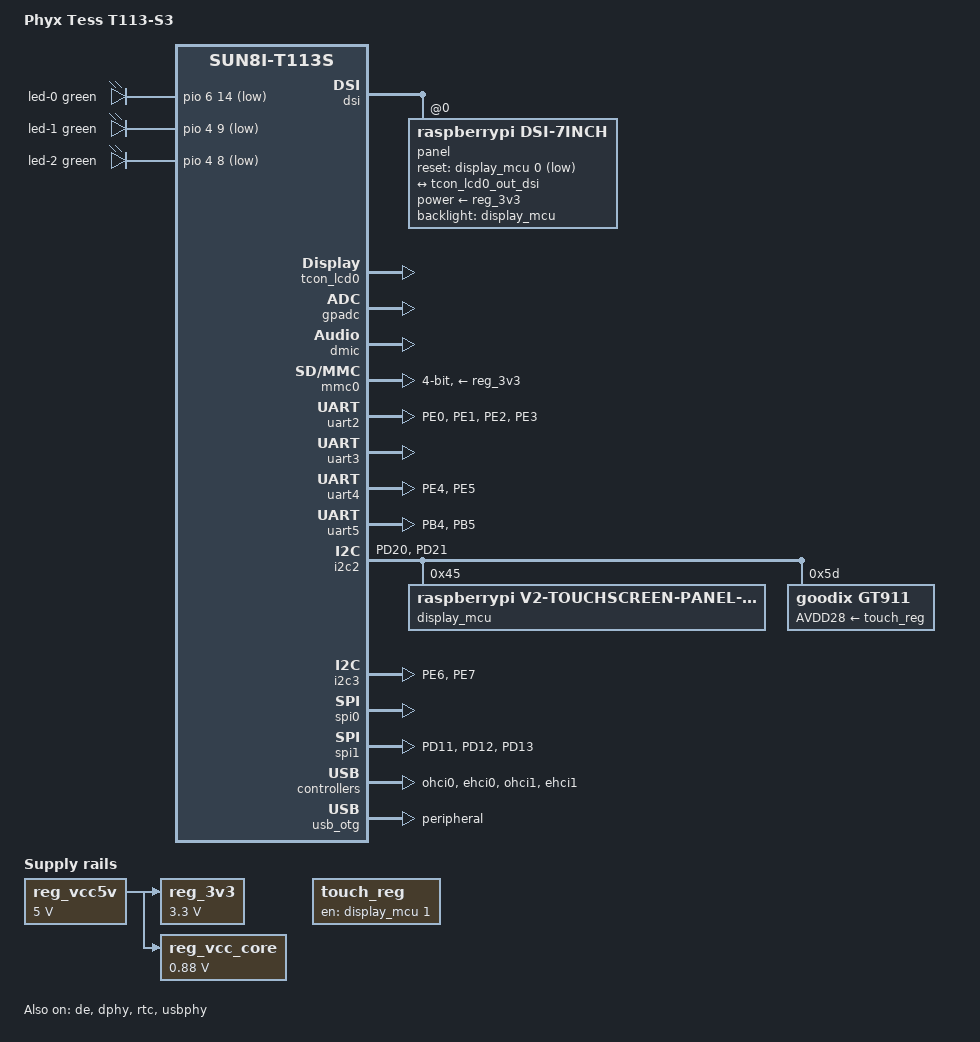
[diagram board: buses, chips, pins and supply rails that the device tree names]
// SPDX-License-Identifier: (GPL-2.0+ OR MIT)
// Copyright (C) 2022 Arm Ltd.

#include <dt-bindings/interrupt-controller/irq.h>

/dts-v1/;

#include "allwinner/sun8i-t113s.dtsi"
#include <dt-bindings/gpio/gpio.h>
#include <dt-bindings/leds/common.h>

/ {
	model = "Phyx Tess T113-S3";
	compatible = "phyx,tess-t113", "allwinner,sun8i-t113s";

	aliases {
		serial3 = &uart3;
	};

	chosen {
		stdout-path = "serial3:115200n8";
	};

	leds {
		compatible = "gpio-leds";

		led-0 {
			color = <LED_COLOR_ID_GREEN>;
			function-enumerator = <0>;
			function = LED_FUNCTION_DISK;
			gpios = <&pio 6 14 GPIO_ACTIVE_LOW>; /* PG14 */
		};

		led-1 {
			color = <LED_COLOR_ID_GREEN>;
			function-enumerator = <1>;
			function = LED_FUNCTION_STATUS;
			gpios = <&pio 4 9 GPIO_ACTIVE_LOW>; /* PE9 */
		};

		led-2 {
			color = <LED_COLOR_ID_GREEN>;
			function-enumerator = <2>;
			function = LED_FUNCTION_USB;
			gpios = <&pio 4 8 GPIO_ACTIVE_LOW>; /* PE8 */
		};
	};

	/* board wide 5V supply directly from the USB-C socket */
	reg_vcc5v: regulator-5v {
		compatible = "regulator-fixed";
		regulator-name = "vcc-5v";
		regulator-min-microvolt = <5000000>;
		regulator-max-microvolt = <5000000>;
		regulator-always-on;
	};

	/* SY8008 DC/DC regulator on the board */
	reg_3v3: regulator-3v3 {
		compatible = "regulator-fixed";
		regulator-name = "vcc-3v3";
		regulator-min-microvolt = <3300000>;
		regulator-max-microvolt = <3300000>;
		vin-supply = <&reg_vcc5v>;
	};

	/* SY8008 DC/DC regulator on the board, also supplying VDD-SYS */
	reg_vcc_core: regulator-core {
		compatible = "regulator-fixed";
		regulator-name = "vcc-core";
		regulator-min-microvolt = <880000>;
		regulator-max-microvolt = <880000>;
		vin-supply = <&reg_vcc5v>;
	};

	touch_reg: touch_reg@1 {
		compatible = "regulator-fixed";
		regulator-name = "touch_reg_1";
		gpio = <&display_mcu 1 GPIO_ACTIVE_HIGH>;
		startup-delay-us = <50000>;
		enable-active-high;
		regulator-boot-on;
	};
};

&cpu0 {
	cpu-supply = <&reg_vcc_core>;
};

&cpu1 {
	cpu-supply = <&reg_vcc_core>;
};

&de {
	status = "okay";
};

&dphy {
	status = "okay";
};

&dsi {
	#address-cells = <1>;
	#size-cells = <0>;
	vcc-dsi-supply = <&reg_3v3>;
	pinctrl-names = "default";
	pinctrl-0 = <&dsi_4lane_pins>;
	status = "okay";

	panel: panel@0 {
		reg = <0>;
		compatible = "raspberrypi,dsi-7inch";
		reset-gpio = <&display_mcu 0 GPIO_ACTIVE_LOW>;
		backlight = <&display_mcu>;
		power-supply = <&reg_3v3>;
		status = "okay";

		port {
			panel_in: endpoint {
				remote-endpoint = <&tcon_lcd0_out_dsi>;
			};
		};
	};
};

&tcon_lcd0 {
    status = "okay";
};

&gpadc {
	status = "okay";
};

&dmic {
	status = "okay";
};

&rtc {
	status = "okay";
};

&dcxo {
	clock-frequency = <24000000>;
};

/* SD card chip storage */
&mmc0 {
	pinctrl-names = "default";
	pinctrl-0 = <&mmc0_pins>;
	vmmc-supply = <&reg_3v3>;
	disable-wp;
	bus-width = <4>;
	status = "okay";
};

&pio {
	vcc-pb-supply = <&reg_3v3>;
	vcc-pd-supply = <&reg_3v3>;
	vcc-pe-supply = <&reg_3v3>;
	vcc-pf-supply = <&reg_3v3>;
	vcc-pg-supply = <&reg_3v3>;

	/omit-if-no-ref/
	uart2_pe_pins: uart2-pe-pins {
		pins = "PE0", "PE1", "PE2", "PE3";
		function = "uart2";
	};

	/omit-if-no-ref/
	uart4_pe_pins: uart4-pe-pins {
		pins = "PE4", "PE5";
		function = "uart4";
	};

	/omit-if-no-ref/
	uart5_pb_pins: uart5-pb-pins {
		pins = "PB4", "PB5";
		function = "uart5";
	};

	/omit-if-no-ref/
	i2c2_pd_pins: i2c2-pd-pins {
		pins = "PD20", "PD21";
		function = "i2c2";
	};

	/omit-if-no-ref/
	i2c3_pe_pins: i2c3-pe-pins {
		pins = "PE6", "PE7";
		function = "i2c3";
	};

	/omit-if-no-ref/
	spi1_pd_pins: spi1-pd-pins {
		pins = "PD11", "PD12", "PD13";
		function = "spi1";
	};

	/omit-if-no-ref/
	gpio_out_pe_pins: gpio-out-pe-pins {
		pins = "PE10", "PE11"; /* esp-c3 boot/reset */
		function = "gpio_out";
	};

	/omit-if-no-ref/
	dsi_gpio_pd_pins: dsi-gpio-pd-pins {
		pins = "PD14", "PD15";
		function = "gpio_out";
	};
};

/* esp32-c3 BLE uart */
&uart2 {
	pinctrl-names = "default";
	pinctrl-0 = <&uart2_pe_pins>;
	status = "okay";
};

/* shell */
&uart3 {
	pinctrl-names = "default";
	pinctrl-0 = <&uart3_pb_pins>;
	status = "okay";
};

/* esp32-c3 programming */
&uart4 {
	pinctrl-names = "default";
	pinctrl-0 = <&uart4_pe_pins>;
	status = "okay";
};

/* feather uart */
&uart5 {
	pinctrl-names = "default";
	pinctrl-0 = <&uart5_pb_pins>;
	status = "okay";
};

/* expansion/dsi i2c */
&i2c2 {
	pinctrl-names = "default";
	pinctrl-0 = <&i2c2_pd_pins>;
	#address-cells = <1>;
	#size-cells = <0>;
	status = "okay";

	display_mcu: display_mcu@45 {
		compatible = "raspberrypi,v2-touchscreen-panel-regulator";
		reg = <0x45>;
		gpio-controller;
		#gpio-cells = <2>;
	};

	gt911: gt911@5d {
		compatible = "goodix,gt911";
		reg = <0x5d>;
		AVDD28-supply = <&touch_reg>;
		touchscreen-size-x = <720>;
		touchscreen-size-y = <1280>;
		touchscreen-x-mm = <90>;
		touchscreen-y-mm = <151>;
	};
};

/* feather i2c */
&i2c3 {
	pinctrl-names = "default";
	pinctrl-0 = <&i2c3_pe_pins>;
	status = "okay";
};

/* esp32-c3 wifi spi */
&spi0 {
	pinctrl-names = "default";
	pinctrl-0 = <&spi0_pins>;
	status = "okay";
};

/* feather spi */
&spi1 {
	pinctrl-names = "default";
	pinctrl-0 = <&spi1_pd_pins>;
	status = "okay";
};

&ohci0 {
	status = "okay";
};

&ehci0 {
	status = "okay";
};

&ohci1 {
	status = "okay";
};

&ehci1 {
	status = "okay";
};

/* The USB-C socket has its CC pins pulled to GND, so is hardwired as a UFP. */
&usb_otg {
	dr_mode = "peripheral";
	status = "okay";
};

&usbphy {
	usb1_vbus-supply = <&reg_vcc5v>;
	status = "okay";
};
